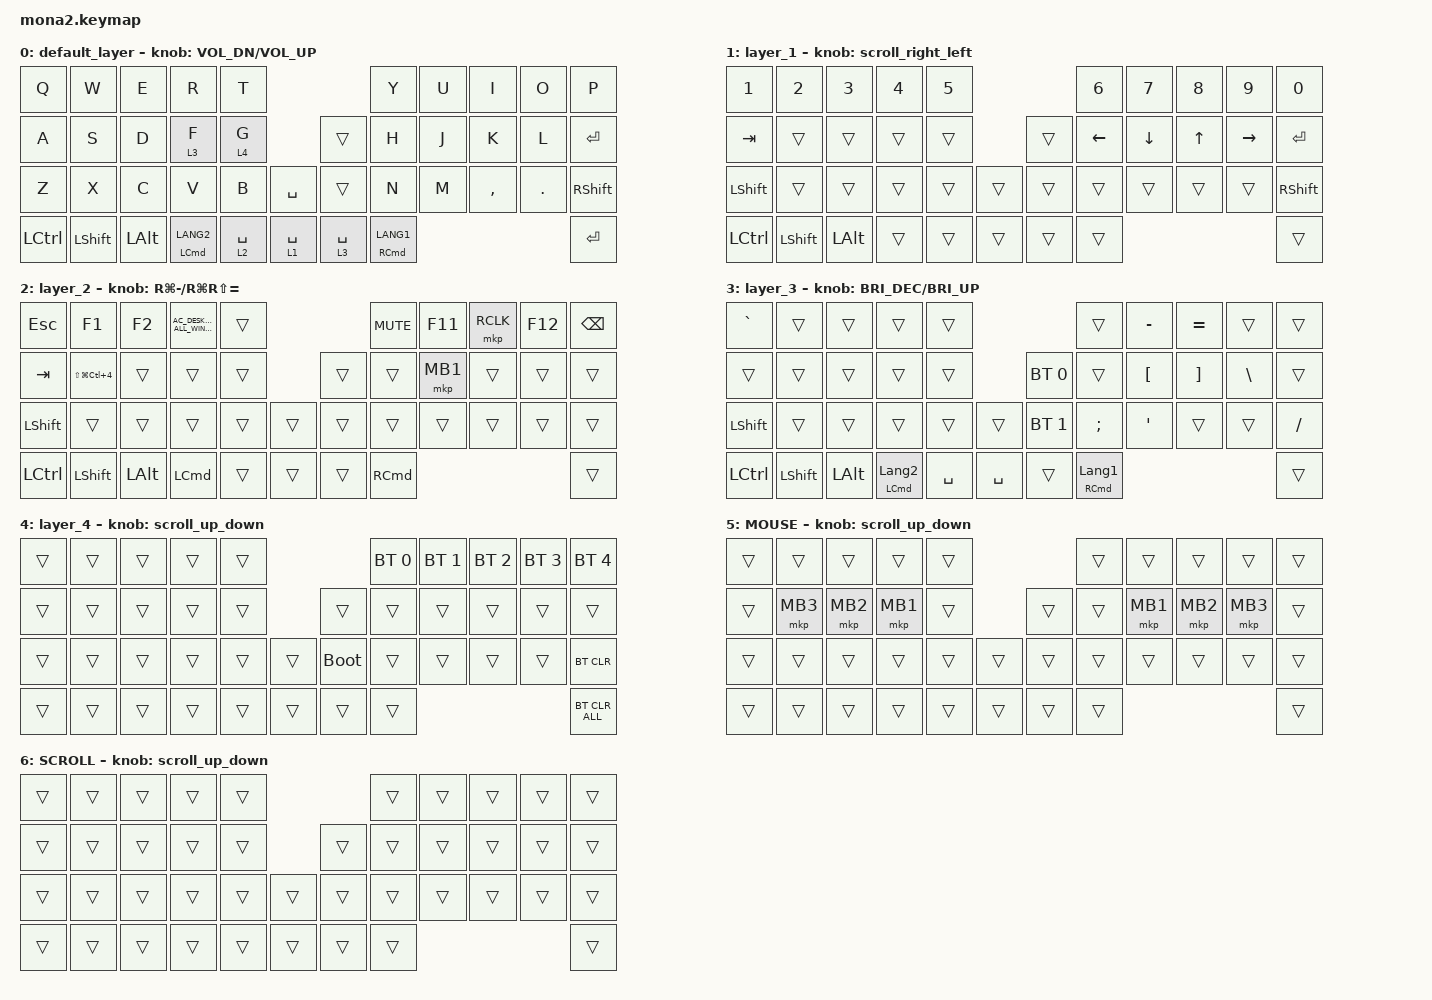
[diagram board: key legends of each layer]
#include <input/processors.dtsi>
#include <dt-bindings/zmk/input_transform.h>
#include <zephyr/dt-bindings/input/input-event-codes.h>
#include <behaviors.dtsi>
#include <dt-bindings/zmk/bt.h>
#include <dt-bindings/zmk/keys.h>
#include <dt-bindings/zmk/pointing.h>

#define ZMK_POINTING_DEFAULT_SCRL_VAL 100
#define MOUSE 5
#define SCROLL 6

&mt {
    flavor = "balanced";
    quick-tap-ms = <0>;
};

&lt {
    quick-tap-ms = <300>;
    flavor = "balanced";
};

/ {
    combos {
        compatible = "zmk,combos";

        layer4_ESC {
            bindings = <&lt 4 ESC>;
            key-positions = <39 38>;
        };

        tab {
            bindings = <&kp TAB>;
            key-positions = <11 12>;
        };
    };

    macros {
        to_layer_0: to_layer_0 {
            compatible = "zmk,behavior-macro-one-param";
            #binding-cells = <1>;
            bindings = <&to 0 &macro_param_1to1 &kp MACRO_PLACEHOLDER>;
            label = "TO_LAYER_0";
        };
    };

    behaviors {
        lt_to_layer_0: lt_to_layer_0 {
            compatible = "zmk,behavior-hold-tap";
            label = "LAYER_TAP_TO_0";
            bindings = <&mo>, <&to_layer_0>;

            #binding-cells = <2>;
            tapping-term-ms = <200>;
        };

        scroll_up_down: mouse_wheel_up_down {
            compatible = "zmk,behavior-sensor-rotate";
            #sensor-binding-cells = <0>;
            bindings = <&msc SCRL_DOWN>, <&msc SCRL_UP>;

            tap-ms = <20>;
        };

        scroll_right_left: mouse_wheel_right_left {
            compatible = "zmk,behavior-sensor-rotate";
            #sensor-binding-cells = <0>;
            bindings = <&msc SCRL_LEFT>, <&msc SCRL_RIGHT>;

            tap-ms = <20>;
        };
    };

    keymap {
        compatible = "zmk,keymap";

        default_layer {
            bindings = <
&kp Q      &kp W           &kp E         &kp R                   &kp T                                    &kp Y                    &kp U  &kp I      &kp O    &kp P
&kp A      &kp S           &kp D         &lt 3 F                 &lt 4 G                     &trans       &kp H                    &kp J  &kp K      &kp L    &kp ENTER
&kp Z      &kp X           &kp C         &kp V                   &kp B        &kp SPACE      &trans       &kp N                    &kp M  &kp COMMA  &kp DOT  &kp RIGHT_SHIFT
&kp LCTRL  &kp LEFT_SHIFT  &kp LEFT_ALT  &mt LEFT_COMMAND LANG2  &lt 2 SPACE  &lt 1 SPACE    &lt 3 SPACE  &mt RIGHT_COMMAND LANG1                             &kp ENTER
            >;

            sensor-bindings = <&inc_dec_kp C_VOL_DN C_VOL_UP>;
        };

        layer_1 {
            bindings = <
&kp NUMBER_1    &kp NUMBER_2    &kp NUMBER_3  &kp NUMBER_4  &kp NUMBER_5                    &kp NUMBER_6  &kp NUMBER_7  &kp NUMBER_8  &kp NUMBER_9  &kp NUMBER_0
&kp TAB         &trans          &trans        &trans        &trans                  &trans  &kp LEFT      &kp DOWN      &kp UP_ARROW  &kp RIGHT     &kp ENTER
&kp LEFT_SHIFT  &trans          &trans        &trans        &trans        &trans    &trans  &trans        &trans        &trans        &trans        &kp RIGHT_SHIFT
&kp LCTRL       &kp LEFT_SHIFT  &kp LEFT_ALT  &trans        &trans        &trans    &trans  &trans                                                  &trans
            >;

            sensor-bindings = <&scroll_right_left>;
        };

        layer_2 {
            bindings = <
&kp ESCAPE      &kp F1                    &kp F2        &kp C_AC_DESKTOP_SHOW_ALL_WINDOWS  &trans                    &kp C_MUTE         &kp F11   &mkp RCLK  &kp F12  &kp BACKSPACE
&kp TAB         &kp LS(LG(LC(NUMBER_4)))  &trans        &trans                             &trans            &trans  &trans             &mkp MB1  &trans     &trans   &trans
&kp LEFT_SHIFT  &trans                    &trans        &trans                             &trans  &trans    &trans  &trans             &trans    &trans     &trans   &trans
&kp LCTRL       &kp LSHIFT                &kp LEFT_ALT  &kp LEFT_COMMAND                   &trans  &trans    &trans  &kp RIGHT_COMMAND                                &trans
            >;

            sensor-bindings = <&inc_dec_kp RG(MINUS) RG(RS(EQUAL))>;
        };

        layer_3 {
            bindings = <
&kp GRAVE       &trans          &trans        &trans                       &trans                                &trans                        &kp MINUS         &kp EQUAL          &trans         &trans
&trans          &trans          &trans        &trans                       &trans                  &bt BT_SEL 0  &trans                        &kp LEFT_BRACKET  &kp RIGHT_BRACKET  &kp BACKSLASH  &trans
&kp LEFT_SHIFT  &trans          &trans        &trans                       &trans     &trans       &bt BT_SEL 1  &kp SEMICOLON                 &kp SQT           &trans             &trans         &kp SLASH
&kp LCTRL       &kp LEFT_SHIFT  &kp LEFT_ALT  &mt LEFT_COMMAND LANGUAGE_2  &kp SPACE  &kp SPACE    &trans        &mt RIGHT_COMMAND LANGUAGE_1                                                      &trans
            >;

            sensor-bindings = <&inc_dec_kp C_BRI_DEC C_BRI_UP>;
        };

        layer_4 {
            bindings = <
&trans  &trans  &trans  &trans  &trans                         &bt BT_SEL 0  &bt BT_SEL 1  &bt BT_SEL 2  &bt BT_SEL 3  &bt BT_SEL 4
&trans  &trans  &trans  &trans  &trans            &trans       &trans        &trans        &trans        &trans        &trans
&trans  &trans  &trans  &trans  &trans  &trans    &bootloader  &trans        &trans        &trans        &trans        &bt BT_CLR
&trans  &trans  &trans  &trans  &trans  &trans    &trans       &trans                                                  &bt BT_CLR_ALL
            >;

            sensor-bindings = <&scroll_up_down>;
        };

        MOUSE {
            bindings = <
&trans  &trans    &trans    &trans    &trans                    &trans  &trans    &trans    &trans    &trans
&trans  &mkp MB3  &mkp MB2  &mkp MB1  &trans            &trans  &trans  &mkp MB1  &mkp MB2  &mkp MB3  &trans
&trans  &trans    &trans    &trans    &trans  &trans    &trans  &trans  &trans    &trans    &trans    &trans
&trans  &trans    &trans    &trans    &trans  &trans    &trans  &trans                                &trans
            >;

            sensor-bindings = <&scroll_up_down>;
        };

        SCROLL {
            bindings = <
&trans  &trans  &trans  &trans  &trans                    &trans  &trans  &trans  &trans  &trans
&trans  &trans  &trans  &trans  &trans            &trans  &trans  &trans  &trans  &trans  &trans
&trans  &trans  &trans  &trans  &trans  &trans    &trans  &trans  &trans  &trans  &trans  &trans
&trans  &trans  &trans  &trans  &trans  &trans    &trans  &trans                          &trans
            >;

            sensor-bindings = <&scroll_up_down>;
        };
    };
};
